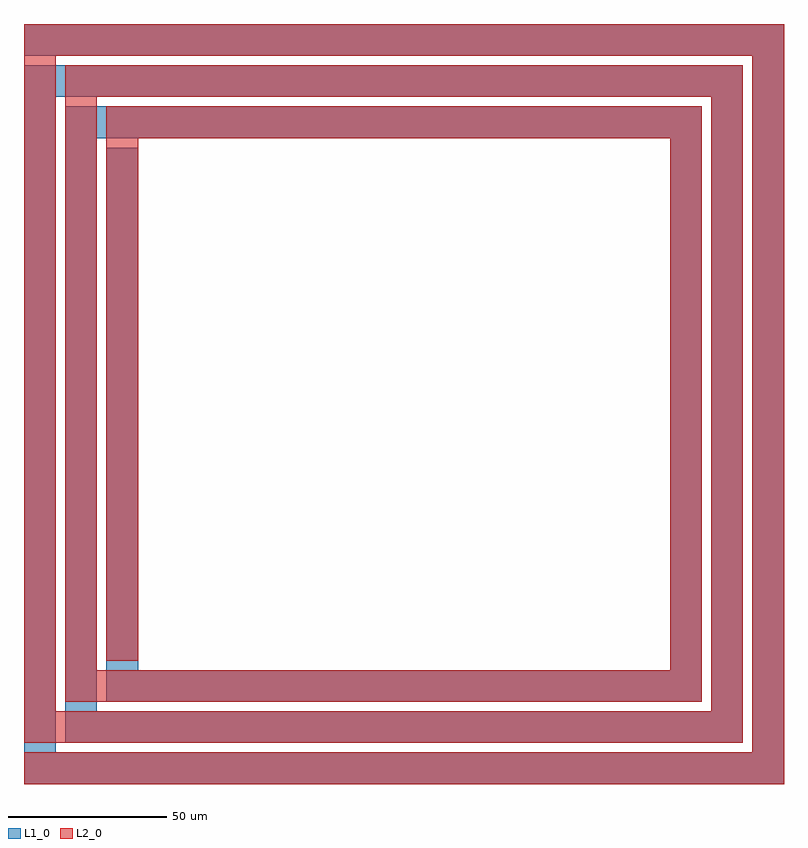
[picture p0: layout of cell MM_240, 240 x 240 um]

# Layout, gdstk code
import gdstk
lib = gdstk.Library(unit=1e-6, precision=1e-09)
def P(c, l, *ps):  # polygons
    for p in ps: c.add(gdstk.Polygon(p, *l))
L1_0 = (1, 0)
L2_0 = (2, 0)

mm_240 = lib.new_cell('MM_240')
P(mm_240, L1_0, [(100,330),(100,340),(340,340),(330,330)],
  [(340,100),(330,110),(330,330),(340,340)],
  [(100,100),(110,110),(330,110),(340,100)],
  [(100,100),(100,327),(110,317),(110,110)],
  [(110,317),(100,327),(327,327),(317,317)],
  [(327,113),(317,123),(317,317),(327,327)],
  [(113,113),(123,123),(317,123),(327,113)],
  [(113,113),(113,314),(123,304),(123,123)],
  [(123,304),(113,314),(314,314),(304,304)],
  [(314,126),(304,136),(304,304),(314,314)],
  [(126,126),(136,136),(304,136),(314,126)],
  [(126,126),(126,301),(136,301),(136,136)])
P(mm_240, L2_0, [(126,139),(126,314),(136,304),(136,139)],
  [(136,304),(126,314),(314,314),(304,304)],
  [(314,126),(304,136),(304,304),(314,314)],
  [(113,126),(123,136),(304,136),(314,126)],
  [(113,126),(113,327),(123,317),(123,136)],
  [(123,317),(113,327),(327,327),(317,317)],
  [(327,113),(317,123),(317,317),(327,327)],
  [(100,113),(110,123),(317,123),(327,113)],
  [(100,113),(100,340),(110,330),(110,123)],
  [(110,330),(100,340),(340,340),(330,330)],
  [(340,100),(330,110),(330,330),(340,340)],
  [(100,100),(100,110),(330,110),(340,100)])

lib.write_gds('MM_240.gds')
